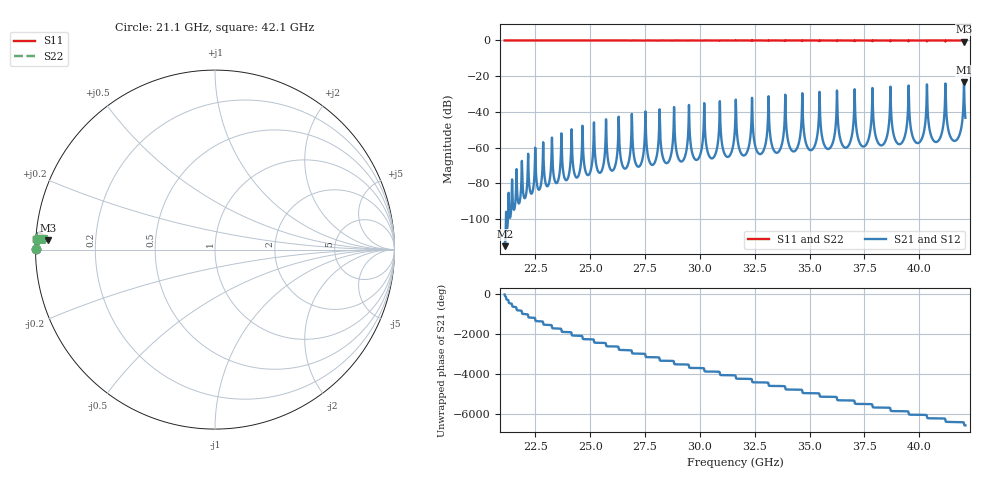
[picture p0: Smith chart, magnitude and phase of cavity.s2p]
!Created with skrf (http://scikit-rf.org).
# GHz S RI R 8002.45012556465
!freq ReS11 ImS11 ReS21 ImS21 ReS12 ImS12 ReS22 ImS22
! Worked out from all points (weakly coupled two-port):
!   8401 points, 21.1 GHz to 42.1 GHz, reference 8002.45 ohm
!   highest |S21| = -23.51 dB at 42.04 GHz (marker M1); lowest = -115.3 dB at 21.12 GHz (marker M2)
!   lowest |S11| = -0.6 dB at 42.04 GHz (marker M3), VSWR 29.17, Z = 275 + j220 ohm
!   |S11| at or under -10 dB: nowhere
!   |S22| runs from -0.6 to 0.0 dB; largest |S21 - S12| = 1.7e-17
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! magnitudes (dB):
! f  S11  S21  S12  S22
! 21.1 GHz  0.0  -113.8  -113.8  0.0
! 21.12 GHz  0.0  -115.3  -115.3  0.0
! 24.6 GHz  0.0  -65.7  -65.7  0.0
! 28.1 GHz  0.0  -58.7  -58.7  0.0
! 30.91 GHz  -0.1  -36.4  -36.4  -0.1
! 31.28 GHz  0.0  -65.2  -65.2  0.0
! 31.6 GHz  0.0  -48.7  -48.7  0.0
! 34.28 GHz  0.0  -62.2  -62.2  0.0
! 34.67 GHz  -0.2  -32.0  -32.0  -0.2
! 35.1 GHz  0.0  -61.3  -61.3  0.0
! 35.45 GHz  -0.2  -31.2  -31.2  -0.2
! 35.84 GHz  0.0  -60.8  -60.8  0.0
! 36.24 GHz  -0.2  -30.5  -30.5  -0.2
! 36.64 GHz  0.0  -60.1  -60.1  0.0
! 38.6 GHz  0.0  -48.6  -48.6  0.0
! 39.94 GHz  0.0  -57.5  -57.5  0.0
! 40.36 GHz  -0.2  -28.4  -28.4  -0.2
! 40.78 GHz  0.0  -56.9  -56.9  0.0
! 41.2 GHz  -0.3  -26.8  -26.8  -0.3
! 41.62 GHz  0.0  -56.3  -56.3  0.0
! 42.04 GHz  -0.6  -23.5  -23.5  -0.6
! 42.1 GHz  0.0  -43.3  -43.3  0.0
